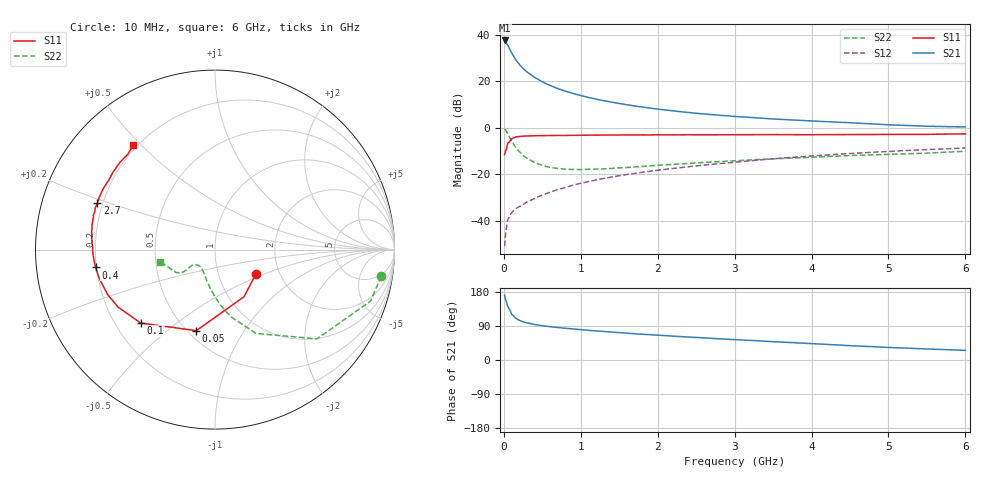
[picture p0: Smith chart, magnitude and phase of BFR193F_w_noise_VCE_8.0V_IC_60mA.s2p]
! Infineon Technologies  Discrete & RF Semiconductors
! BFR193F
! VCE =  8.0 V,  IC =  60 mA
! Common Emitter S-Parameters:  Jan 2017
# GHz  S  MA  R  50
!  f  S11  S21  S12  S22
! GHz  MAG  ANG  MAG  ANG  MAG  ANG  MAG  ANG
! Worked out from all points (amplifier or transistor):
!   77 points, 10 MHz to 6 GHz, reference 50 ohm
!   highest |S21| = 37.6 dB at 10 MHz (marker M1)
!   |S21| within 3 dB of that: start of sweep to 65.71 MHz
!   unconditionally stable (mu >= 1): 770.9 MHz to 2.573 GHz
!   at 130 MHz: K = 0.49, MSG = 33.2 dB, |S12| = -35.6 dB
!   at 2.2 GHz: K = 1.02, MAG = 11.6 dB, |S12| = -17.6 dB
!   at 6 GHz: K = 0.85, MSG = 4.5 dB, |S12| = -8.7 dB
!   lowest NFmin = 1.64 dB at 450 MHz
!   S11 on the Smith chart (normalised r, x): 10 MHz: 1.51, -0.45; 50 MHz: 0.55, -0.63; 100 MHz: 0.31, -0.38; 400 MHz: 0.20, -0.07; 2.7 GHz: 0.18, +0.19; 6 GHz: 0.18, +0.47
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0.01  0.2654 -31.1  76.12 170.8  0.0028 86.2  0.9376 -9.1
0.02  0.3084 -58.4  73.47 161.9  0.0046 80.8  0.9134 -18.3
0.05  0.4635 -103.0  60.55 141.2  0.0102 64.3  0.7554 -41.2
0.1  0.5819 -135.3  41.35 121.0  0.0147 54.0  0.519 -64.0
0.15  0.6283 -149.4  30.07 111.0  0.0178 52.3  0.3837 -76.8
0.2  0.6487 -157.3  23.34 104.8  0.0199 54.3  0.3068 -84.9
0.25  0.657 -162.9  18.95 100.8  0.0221 55.5  0.2526 -91.4
0.3  0.6651 -166.3  15.98 97.9  0.025 60.0  0.2204 -96.5
0.4  0.6725 -171.5  12.11 93.5  0.0298 62.3  0.1774 -105.1
0.5  0.6765 -174.7  9.746 90.5  0.0354 66.2  0.1536 -111.8
0.6  0.6789 -177.2  8.162 87.9  0.0407 67.9  0.1399 -117.4
0.7  0.6824 -179.7  7.016 85.7  0.0463 69.3  0.1328 -122.3
0.8  0.6819 178.6  6.144 83.8  0.0517 71.5  0.128 -126.7
0.9  0.6864 176.8  5.481 81.9  0.0577 71.6  0.1259 -129.9
1.1  0.6913 173.9  4.502 78.4  0.0689 73.2  0.1273 -134.9
1.5  0.6977 169.2  3.332 72.3  0.0923 74.2  0.1365 -141.7
2.1  0.7034 163.3  2.417 64.3  0.1268 73.9  0.1587 -145.2
2.7  0.7051 158.2  1.92 57.1  0.1624 73.0  0.1821 -145.3
3.1  0.7074 154.9  1.714 52.8  0.1869 72.1  0.1981 -144.5
4.1  0.7083 146.2  1.375 42.2  0.2528 68.2  0.2351 -146.7
5.1  0.7188 136.4  1.142 32.3  0.3147 62.7  0.2699 -156.8
6  0.7388 128.1  1.04 25.4  0.3655 57.5  0.3114 -167.3
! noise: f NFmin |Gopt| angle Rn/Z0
0.45  1.64  0.49  -178  0.08
0.9  1.73  0.5  -177  0.09
1.9  2.33  0.61  -162  0.1
2.4  2.66  0.62  -155  0.17
